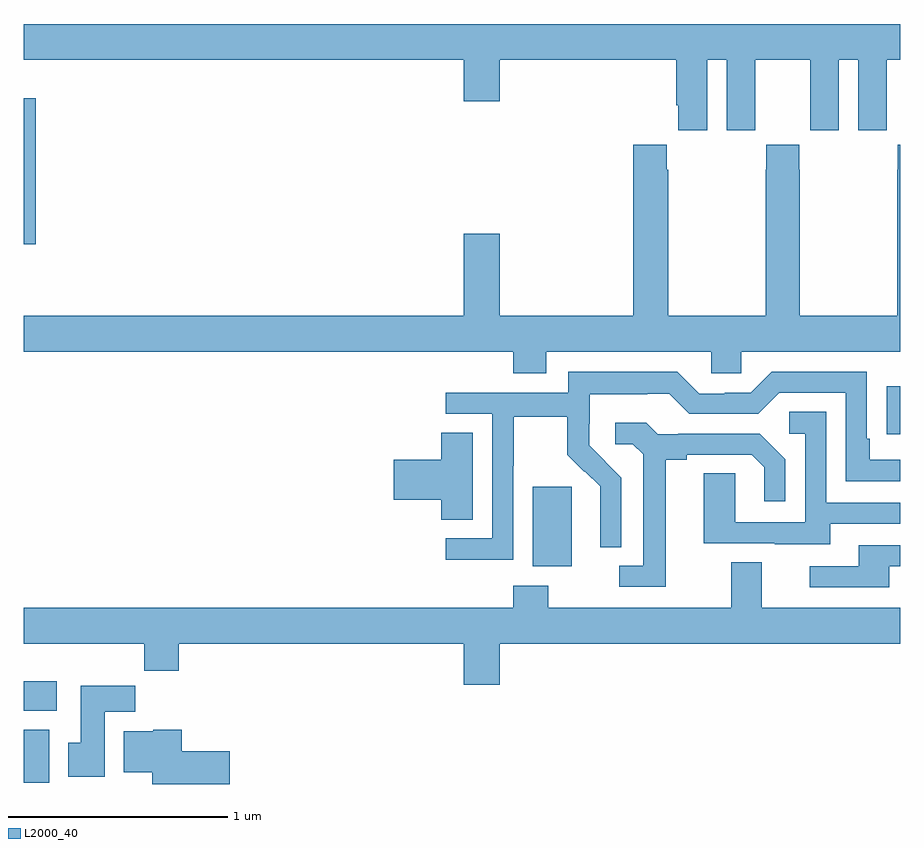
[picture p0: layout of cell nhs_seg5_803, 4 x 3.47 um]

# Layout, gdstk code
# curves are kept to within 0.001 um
import gdstk
lib = gdstk.Library(unit=1e-6, precision=1e-09)
def R(c, l, rs):  # rectangles x0, y0, x1, y1
    for r in rs: c.add(gdstk.rectangle(r[:2], r[2:], *l))
def P(c, l, *ps):  # polygons
    for p in ps: c.add(gdstk.Polygon(p, *l))
L2000_40 = (2000, 40)

nhs_seg5_803 = lib.new_cell('nhs_seg5_803')
R(nhs_seg5_803, L2000_40, [(163,842.804,163.117,843.046), (163,843.134,163.15,843.268), (165.323,843.794,165.502,844.155), (166.939,844.396,167,844.615), (163,845.262,163.055,845.929)])
P(nhs_seg5_803, L2000_40, [(166.12,846.104),(166.208,846.104),(166.208,845.784),(166.338,845.784),(166.338,845.896),(166.339,845.896),(166.339,846.104),(166.589,846.104),(166.589,845.896),(166.59,845.896),(166.59,845.784),(166.72,845.784),(166.72,846.104),(166.808,846.104),(166.808,845.784),(166.938,845.784),(166.938,845.896),(166.939,845.896),(166.939,846.104),(167,846.104),(167,846.268),(163,846.268),(163,846.104),(165.008,846.104),(165.008,845.916),(165.172,845.916),(165.172,846.104),(165.977,846.104),(165.977,845.896),(165.986,845.896),(165.986,845.784),(166.12,845.784)],
  [(165.385,844.772),(166.137,844.772),(166.137,844.674),(166.275,844.674),(166.275,844.772),(167,844.772),(167,845.716),(166.989,845.716),(166.989,845.603),(166.987,845.603),(166.987,844.936),(166.542,844.936),(166.542,845.603),(166.539,845.603),(166.539,845.716),(166.389,845.716),(166.389,845.603),(166.387,845.603),(166.387,844.936),(165.942,844.936),(165.942,845.603),(165.935,845.603),(165.935,845.716),(165.782,845.716),(165.782,844.936),(165.172,844.936),(165.172,845.311),(165.008,845.311),(165.008,844.936),(163,844.936),(163,844.772),(165.233,844.772),(165.233,844.673),(165.385,844.673)],
  [(165.234,844.252),(165.237,844.252),(165.237,844.476),(165.481,844.476),(165.481,844.301),(165.558,844.224),(165.561,844.227),(165.632,844.157),(165.632,844.034),(165.63,844.034),(165.63,843.88),(165.726,843.88),(165.726,844.198),(165.58,844.346),(165.58,844.443),(165.582,844.443),(165.582,844.577),(165.845,844.577),(165.845,844.581),(165.945,844.581),(166.038,844.488),(166.353,844.488),(166.449,844.584),(166.752,844.584),(166.752,844.182),(167,844.182),(167,844.278),(166.861,844.278),(166.861,844.375),(166.848,844.375),(166.848,844.68),(166.413,844.68),(166.317,844.584),(166.199,844.584),(166.199,844.581),(166.083,844.581),(165.983,844.681),(165.486,844.681),(165.486,844.584),(164.925,844.584),(164.925,844.488),(165.138,844.488),(165.138,843.921),(164.925,843.921),(164.925,843.823),(165.234,843.823)],
  [(166.681,843.987),(167,843.987),(167,844.083),(166.662,844.083),(166.662,844.499),(166.494,844.499),(166.494,844.398),(166.566,844.398),(166.566,843.993),(166.248,843.993),(166.248,844.217),(166.103,844.217),(166.103,843.897),(166.427,843.897),(166.427,843.893),(166.681,843.893)],
  [(165.931,844.28),(166.027,844.28),(166.027,844.302),(166.322,844.302),(166.379,844.245),(166.379,844.089),(166.476,844.089),(166.476,844.282),(166.36,844.398),(165.988,844.398),(165.988,844.395),(165.894,844.395),(165.842,844.447),(165.699,844.447),(165.699,844.35),(165.78,844.35),(165.827,844.303),(165.827,843.795),(165.717,843.795),(165.717,843.699),(165.931,843.699)],
  [(165.049,844.403),(164.906,844.403),(164.906,844.28),(164.688,844.28),(164.688,844.097),(164.906,844.097),(164.906,844.006),(165.049,844.006)],
  [(166.951,843.792),(167,843.792),(167,843.888),(166.811,843.888),(166.811,843.792),(166.587,843.792),(166.587,843.696),(166.951,843.696)],
  [(165.172,843.44),(167,843.44),(167,843.604),(166.369,843.604),(166.369,843.812),(166.229,843.812),(166.229,843.604),(165.393,843.604),(165.393,843.703),(165.233,843.703),(165.233,843.604),(163,843.604),(163,843.44),(163.549,843.44),(163.549,843.316),(163.706,843.316),(163.706,843.44),(165.008,843.44),(165.008,843.252),(165.172,843.252)],
  [(163.369,843.128),(163.508,843.128),(163.508,843.247),(163.259,843.247),(163.259,842.988),(163.202,842.988),(163.202,842.832),(163.369,842.832)],
  [(163.939,842.948),(163.721,842.948),(163.721,843.046),(163.59,843.046),(163.59,843.04),(163.457,843.04),(163.457,842.852),(163.586,842.852),(163.586,842.799),(163.939,842.799)])

lib.write_gds('nhs_seg5_803.gds')
